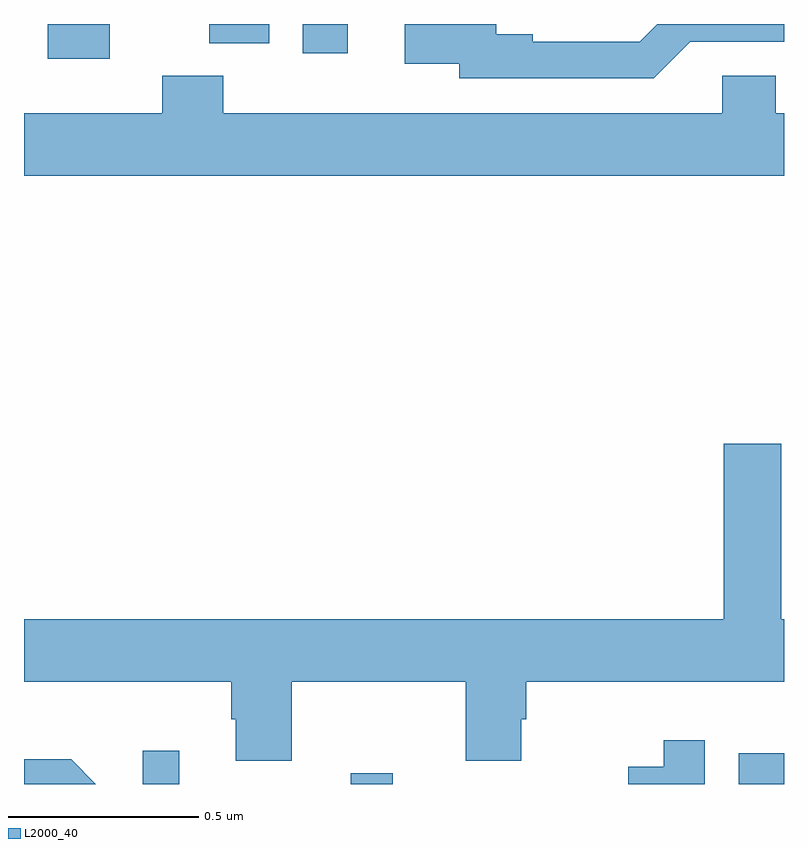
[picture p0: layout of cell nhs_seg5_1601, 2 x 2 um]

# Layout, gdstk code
import gdstk
lib = gdstk.Library(unit=1e-6, precision=1e-09)
def R(c, l, rs):  # rectangles x0, y0, x1, y1
    for r in rs: c.add(gdstk.rectangle(r[:2], r[2:], *l))
def P(c, l, *ps):  # polygons
    for p in ps: c.add(gdstk.Polygon(p, *l))
L2000_40 = (2000, 40)

nhs_seg5_1601 = lib.new_cell('nhs_seg5_1601')
R(nhs_seg5_1601, L2000_40, [(132.312,881.799,132.409,881.887), (132.86,881.799,132.971,881.827), (133.881,881.799,134,881.88), (132.062,883.707,132.226,883.799), (132.734,883.722,132.852,883.799), (132.488,883.748,132.646,883.799)])
P(nhs_seg5_1601, L2000_40, [(133.753,883.752),(134,883.752),(134,883.799),(133.667,883.799),(133.62,883.752),(133.339,883.752),(133.339,883.772),(133.243,883.772),(133.243,883.799),(133.002,883.799),(133.002,883.694),(133.146,883.694),(133.146,883.656),(133.657,883.656)],
  [(134,883.564),(133.978,883.564),(133.978,883.663),(133.838,883.663),(133.838,883.564),(132.524,883.564),(132.524,883.663),(132.364,883.663),(132.364,883.564),(132,883.564),(132,883.4),(134,883.4)],
  [(132.705,882.068),(133.162,882.068),(133.162,881.86),(133.309,881.86),(133.309,881.97),(133.322,881.97),(133.322,882.068),(134,882.068),(134,882.232),(133.993,882.232),(133.993,882.694),(133.841,882.694),(133.841,882.232),(132,882.232),(132,882.068),(132.545,882.068),(132.545,881.97),(132.557,881.97),(132.557,881.86),(132.705,881.86)],
  [(133.791,881.914),(133.683,881.914),(133.683,881.844),(133.59,881.844),(133.59,881.799),(133.791,881.799)],
  [(132.124,881.864),(132,881.864),(132,881.799),(132.189,881.799)])

lib.write_gds('nhs_seg5_1601.gds')
